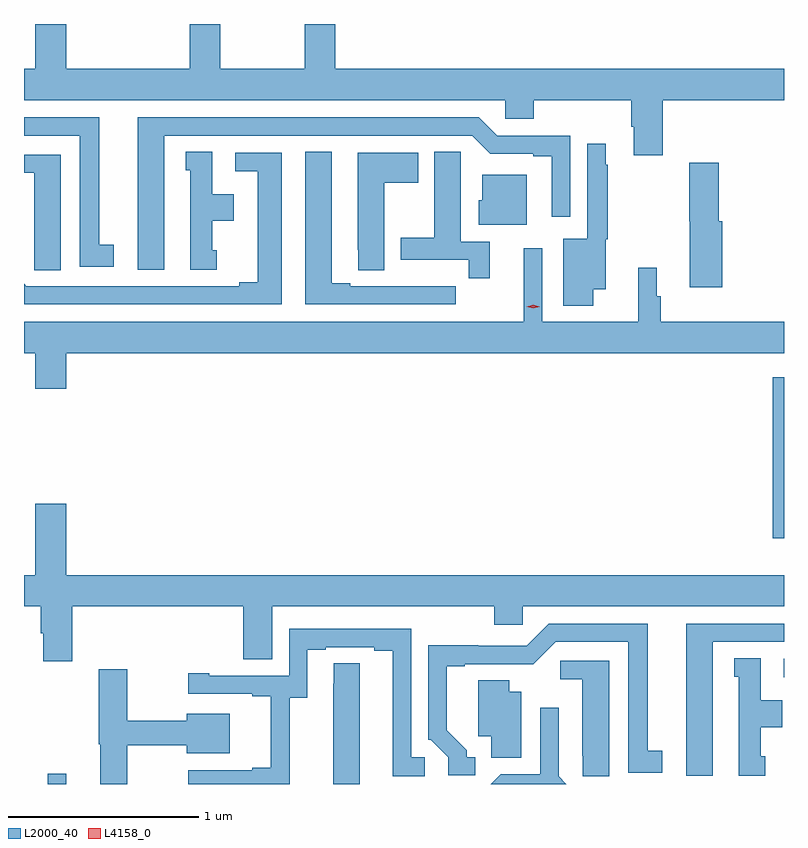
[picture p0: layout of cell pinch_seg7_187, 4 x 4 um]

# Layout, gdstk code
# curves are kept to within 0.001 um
import gdstk
lib = gdstk.Library(unit=1e-6, precision=1e-09)
def R(c, l, rs):  # rectangles x0, y0, x1, y1
    for r in rs: c.add(gdstk.rectangle(r[:2], r[2:], *l))
def P(c, l, *ps):  # polygons
    for p in ps: c.add(gdstk.Polygon(p, *l))
L2000_40 = (2000, 40)
L4158_0 = (4158, 0)

pinch_seg7_187 = lib.new_cell('pinch_seg7_187')
R(pinch_seg7_187, L2000_40, [(1124.113,1019.66,1124.212,1019.713), (1127.988,1020.222,1127.989,1020.318), (1127.929,1020.954,1127.989,1021.801)])
P(pinch_seg7_187, L2000_40, [(1127.351,1023.26),(1127.989,1023.26),(1127.989,1023.424),(1125.626,1023.424),(1125.626,1023.66),(1125.466,1023.66),(1125.466,1023.424),(1125.021,1023.424),(1125.021,1023.66),(1124.861,1023.66),(1124.861,1023.424),(1124.212,1023.424),(1124.212,1023.66),(1124.048,1023.66),(1124.048,1023.424),(1123.989,1023.424),(1123.989,1023.26),(1126.521,1023.26),(1126.521,1023.162),(1126.673,1023.162),(1126.673,1023.26),(1127.186,1023.26),(1127.186,1023.118),(1127.198,1023.118),(1127.198,1022.97),(1127.351,1022.97)],
  [(1124.728,1023.072),(1126.347,1023.072),(1126.443,1022.976),(1126.67,1022.976),(1126.67,1022.964),(1126.766,1022.964),(1126.766,1022.646),(1126.863,1022.646),(1126.863,1023.072),(1126.479,1023.072),(1126.383,1023.168),(1124.588,1023.168),(1124.588,1022.367),(1124.728,1022.367)],
  [(1124.461,1022.498),(1124.386,1022.498),(1124.386,1023.168),(1123.989,1023.168),(1123.989,1023.072),(1124.282,1023.072),(1124.282,1022.382),(1124.461,1022.382)],
  [(1126.984,1022.264),(1127.05,1022.264),(1127.05,1022.526),(1127.062,1022.526),(1127.062,1022.918),(1127.05,1022.918),(1127.05,1023.031),(1126.953,1023.031),(1126.953,1022.53),(1126.826,1022.53),(1126.826,1022.178),(1126.984,1022.178)],
  [(1126.439,1022.514),(1126.288,1022.514),(1126.288,1022.876),(1126.287,1022.876),(1126.287,1022.987),(1126.148,1022.987),(1126.148,1022.535),(1125.971,1022.535),(1125.971,1022.418),(1126.33,1022.418),(1126.33,1022.322),(1126.439,1022.322)],
  [(1126.261,1022.28),(1126.148,1022.28),(1126.148,1022.281),(1125.982,1022.281),(1125.982,1022.28),(1125.706,1022.28),(1125.706,1022.295),(1125.61,1022.295),(1125.61,1022.987),(1125.47,1022.987),(1125.47,1022.184),(1126.261,1022.184)],
  [(1125.004,1022.469),(1124.98,1022.469),(1124.98,1022.624),(1125.094,1022.624),(1125.094,1022.764),(1124.98,1022.764),(1124.98,1022.987),(1124.84,1022.987),(1124.84,1022.889),(1124.864,1022.889),(1124.864,1022.367),(1125.004,1022.367)],
  [(1125.886,1022.824),(1126.063,1022.824),(1126.063,1022.983),(1125.746,1022.983),(1125.746,1022.473),(1125.747,1022.473),(1125.747,1022.365),(1125.886,1022.365)],
  [(1125.346,1022.982),(1125.102,1022.982),(1125.102,1022.886),(1125.218,1022.886),(1125.218,1022.3),(1125.122,1022.3),(1125.122,1022.28),(1124.001,1022.28),(1123.989,1022.292),(1123.989,1022.184),(1125.346,1022.184)],
  [(1124.182,1022.973),(1123.989,1022.973),(1123.989,1022.876),(1124.042,1022.876),(1124.042,1022.473),(1124.043,1022.473),(1124.043,1022.365),(1124.182,1022.365)],
  [(1127.663,1022.622),(1127.645,1022.622),(1127.645,1022.929),(1127.491,1022.929),(1127.491,1022.622),(1127.492,1022.622),(1127.492,1022.274),(1127.663,1022.274)],
  [(1126.636,1022.866),(1126.4,1022.866),(1126.4,1022.733),(1126.382,1022.733),(1126.382,1022.603),(1126.636,1022.603)],
  [(1124.212,1021.928),(1127.989,1021.928),(1127.989,1022.092),(1127.339,1022.092),(1127.339,1022.226),(1127.32,1022.226),(1127.32,1022.377),(1127.221,1022.377),(1127.221,1022.092),(1126.716,1022.092),(1126.716,1022.479),(1126.619,1022.479),(1126.619,1022.092),(1123.989,1022.092),(1123.989,1021.928),(1124.048,1021.928),(1124.048,1021.74),(1124.212,1021.74)],
  [(1124.243,1020.596),(1125.143,1020.596),(1125.143,1020.316),(1125.295,1020.316),(1125.295,1020.596),(1126.463,1020.596),(1126.463,1020.498),(1126.614,1020.498),(1126.614,1020.596),(1127.989,1020.596),(1127.989,1020.76),(1124.212,1020.76),(1124.212,1021.135),(1124.048,1021.135),(1124.048,1020.76),(1123.989,1020.76),(1123.989,1020.596),(1124.078,1020.596),(1124.078,1020.454),(1124.09,1020.454),(1124.09,1020.306),(1124.243,1020.306)],
  [(1126.363,1019.802),(1126.318,1019.802),(1126.318,1019.837),(1126.213,1019.942),(1126.213,1020.279),(1126.309,1020.279),(1126.309,1020.291),(1126.67,1020.29),(1126.788,1020.408),(1127.168,1020.408),(1127.168,1019.718),(1127.347,1019.718),(1127.347,1019.834),(1127.272,1019.834),(1127.272,1020.504),(1126.752,1020.504),(1126.635,1020.387),(1126.379,1020.387),(1126.379,1020.389),(1126.116,1020.389),(1126.116,1019.892),(1126.131,1019.892),(1126.221,1019.802),(1126.221,1019.706),(1126.363,1019.706)],
  [(1127.614,1020.408),(1127.989,1020.408),(1127.989,1020.504),(1127.474,1020.504),(1127.474,1019.703),(1127.614,1019.703)],
  [(1125.387,1020.115),(1125.481,1020.115),(1125.481,1020.366),(1125.577,1020.366),(1125.577,1020.381),(1125.833,1020.381),(1125.833,1020.361),(1125.929,1020.361),(1125.929,1019.701),(1126.099,1019.701),(1126.099,1019.802),(1126.026,1019.802),(1126.026,1020.477),(1125.384,1020.477),(1125.384,1020.231),(1124.965,1020.231),(1124.965,1020.244),(1124.853,1020.244),(1124.853,1020.135),(1125.191,1020.135),(1125.191,1020.123),(1125.287,1020.123),(1125.287,1019.746),(1125.191,1019.746),(1125.191,1019.733),(1124.853,1019.733),(1124.853,1019.66),(1125.387,1019.66)],
  [(1127.89,1019.805),(1127.866,1019.805),(1127.866,1019.96),(1127.98,1019.96),(1127.98,1020.1),(1127.866,1020.1),(1127.866,1020.323),(1127.726,1020.323),(1127.726,1020.225),(1127.75,1020.225),(1127.75,1019.703),(1127.89,1019.703)],
  [(1127.068,1020.309),(1126.812,1020.309),(1126.812,1020.212),(1126.928,1020.212),(1126.928,1019.809),(1126.929,1019.809),(1126.929,1019.701),(1127.068,1019.701)],
  [(1125.757,1020.296),(1125.618,1020.296),(1125.618,1020.188),(1125.617,1020.188),(1125.617,1019.66),(1125.757,1019.66)],
  [(1124.532,1019.865),(1124.846,1019.865),(1124.846,1019.822),(1125.073,1019.822),(1125.073,1020.031),(1124.846,1020.031),(1124.846,1019.993),(1124.532,1019.993),(1124.532,1020.265),(1124.383,1020.265),(1124.383,1019.87),(1124.39,1019.87),(1124.39,1019.66),(1124.532,1019.66)],
  [(1126.606,1020.145),(1126.543,1020.145),(1126.543,1020.206),(1126.379,1020.206),(1126.379,1019.912),(1126.448,1019.912),(1126.448,1019.797),(1126.606,1019.797)],
  [(1126.803,1019.7),(1126.803,1020.061),(1126.707,1020.061),(1126.707,1019.712),(1126.497,1019.712),(1126.445,1019.66),(1126.843,1019.66)])
P(pinch_seg7_187, L4158_0, [(1126.668,1022.163),(1126.634,1022.173),(1126.634,1022.173),(1126.634,1022.173),(1126.668,1022.183),(1126.703,1022.172),(1126.703,1022.172),(1126.703,1022.172)])

lib.write_gds('pinch_seg7_187.gds')
